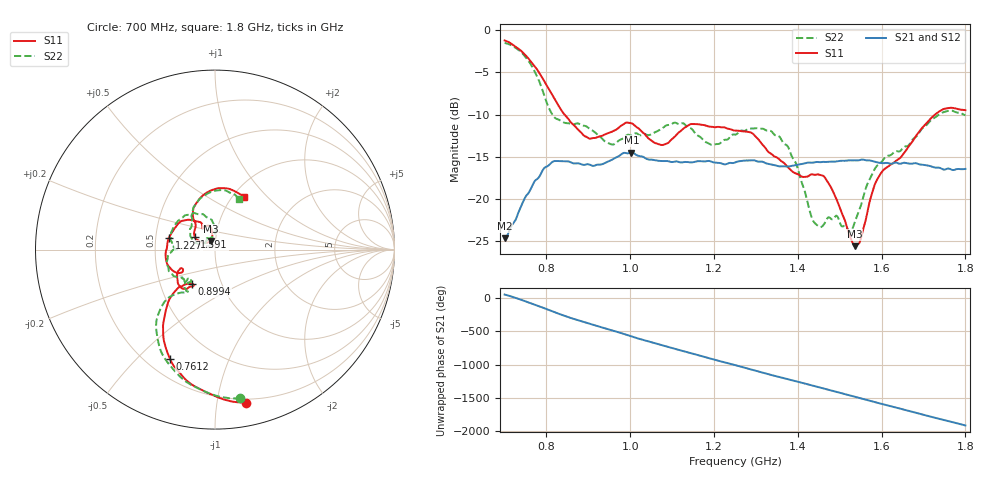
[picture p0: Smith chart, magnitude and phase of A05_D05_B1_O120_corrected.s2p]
! Created with skrf 1.9.0 (http://scikit-rf.org).
# Hz S RI R 50.0
!freq ReS11 ImS11 ReS21 ImS21 ReS12 ImS12 ReS22 ImS22
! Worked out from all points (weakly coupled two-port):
!   1601 points, 700 MHz to 1.8 GHz, reference 50 ohm
!   highest |S21| = -14.48 dB at 1.002 GHz (marker M1); lowest = -24.6 dB at 700.7 MHz (marker M2)
!   lowest |S11| = -25.6 dB at 1.536 GHz (marker M3), VSWR 1.11, Z = 47.5 + j4.52 ohm
!   |S11| at or under -10 dB: 843.5 MHz to 1.727 GHz (883.8 MHz wide, 68.8 % of centre)
!   |S22| runs from -23.9 to -1.5 dB; largest |S21 - S12| = 0.0036
!   S11 on the Smith chart (normalised r, x): 700 MHz: 0.17, -1.21; 761.2 MHz: 0.29, -0.63; 899.4 MHz: 0.72, -0.29; 1.227 GHz: 0.59, +0.09; 1.591 GHz: 0.79, +0.11; 1.8 GHz: 1.12, +0.75
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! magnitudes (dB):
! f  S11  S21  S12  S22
! 700 MHz  -1.2  -24.6  -24.4  -1.5
! 700.7 MHz  -1.2  -24.6  -24.3  -1.5
! 761.2 MHz  -3.6  -18.9  -18.8  -3.9
! 817.6 MHz  -8.0  -15.5  -15.6  -10.2
! 883.6 MHz  -12.2  -15.9  -15.8  -11.2
! 899.4 MHz  -12.8  -15.9  -15.9  -11.5
! 955.1 MHz  -12.0  -15.4  -15.4  -13.5
! 1.002 GHz  -11.0  -14.5  -14.6  -12.5
! 1.067 GHz  -13.5  -15.4  -15.4  -11.9
! 1.145 GHz  -11.1  -15.7  -15.6  -11.6
! 1.227 GHz  -11.5  -15.9  -15.8  -13.0
! 1.25 GHz  -11.9  -15.7  -15.6  -12.4
! 1.357 GHz  -15.3  -16.1  -16.1  -12.6
! 1.396 GHz  -17.0  -16.0  -16.0  -15.8
! 1.434 GHz  -17.1  -15.7  -15.6  -22.2
! 1.475 GHz  -18.2  -15.6  -15.6  -22.1
! 1.536 GHz  -25.6  -15.4  -15.4  -22.7
! 1.55 GHz  -24.8  -15.3  -15.4  -20.9
! 1.591 GHz  -17.5  -15.7  -15.6  -16.0
! 1.617 GHz  -16.1  -15.8  -15.7  -14.8
! 1.734 GHz  -9.7  -16.3  -16.3  -10.1
! 1.8 GHz  -9.5  -16.4  -16.4  -10.1
